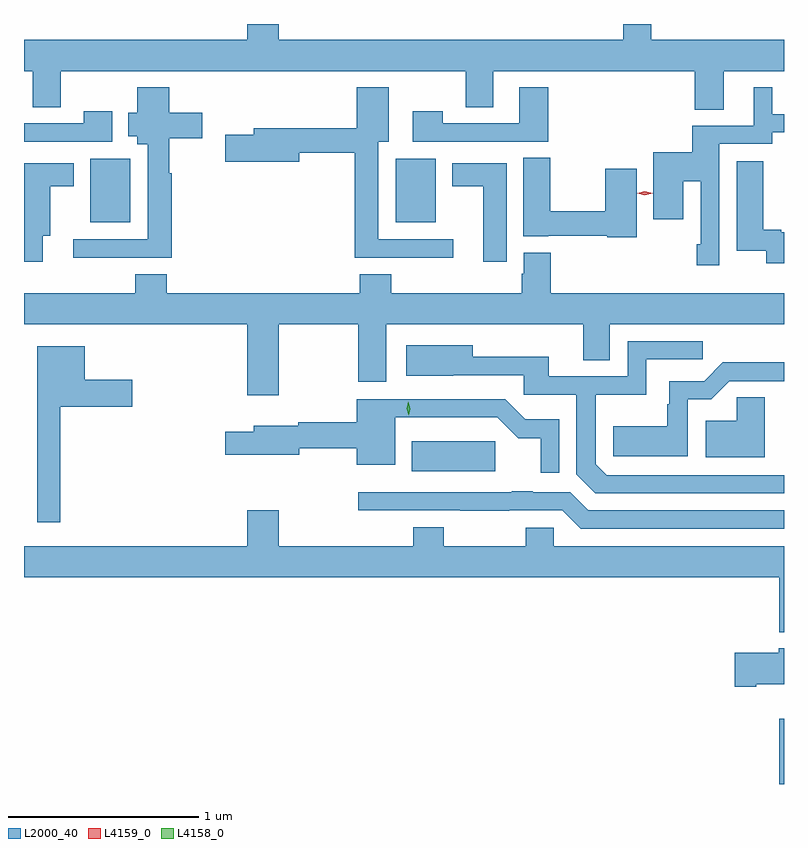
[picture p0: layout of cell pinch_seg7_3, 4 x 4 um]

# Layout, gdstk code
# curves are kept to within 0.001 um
import gdstk
lib = gdstk.Library(unit=1e-6, precision=1e-09)
def R(c, l, rs):  # rectangles x0, y0, x1, y1
    for r in rs: c.add(gdstk.rectangle(r[:2], r[2:], *l))
def P(c, l, *ps):  # polygons
    for p in ps: c.add(gdstk.Polygon(p, *l))
L2000_40 = (2000, 40)
L4158_0 = (4158, 0)
L4159_0 = (4159, 0)

pinch_seg7_3 = lib.new_cell('pinch_seg7_3')
R(pinch_seg7_3, L2000_40, [(1042.93,1050.144,1042.956,1050.487), (1040.996,1051.79,1041.436,1051.948), (1039.304,1053.101,1039.516,1053.436), (1040.912,1053.101,1041.124,1053.436)])
P(pinch_seg7_3, L2000_40, [(1042.639,1053.896),(1042.956,1053.896),(1042.956,1054.06),(1042.257,1054.06),(1042.257,1054.144),(1042.109,1054.144),(1042.109,1054.06),(1040.296,1054.06),(1040.296,1054.144),(1040.132,1054.144),(1040.132,1054.06),(1038.956,1054.06),(1038.956,1053.896),(1039.001,1053.896),(1039.001,1053.706),(1039.149,1053.706),(1039.149,1053.896),(1041.28,1053.896),(1041.28,1053.706),(1041.427,1053.706),(1041.427,1053.896),(1042.487,1053.896),(1042.487,1053.694),(1042.639,1053.694)],
  [(1041.214,1053.012),(1040.821,1053.012),(1040.821,1053.524),(1040.875,1053.524),(1040.875,1053.811),(1040.708,1053.811),(1040.708,1053.595),(1040.165,1053.595),(1040.165,1053.561),(1040.016,1053.561),(1040.016,1053.419),(1040.404,1053.419),(1040.404,1053.466),(1040.696,1053.466),(1040.696,1052.915),(1041.214,1052.915)],
  [(1042.614,1053.513),(1042.893,1053.513),(1042.893,1053.573),(1042.956,1053.573),(1042.956,1053.669),(1042.894,1053.669),(1042.894,1053.811),(1042.796,1053.811),(1042.796,1053.609),(1042.472,1053.609),(1042.472,1053.469),(1042.268,1053.469),(1042.268,1053.117),(1042.426,1053.117),(1042.426,1053.317),(1042.518,1053.317),(1042.518,1052.986),(1042.498,1052.986),(1042.498,1052.874),(1042.614,1052.874)],
  [(1039.733,1053.358),(1039.72,1053.358),(1039.72,1053.542),(1039.894,1053.542),(1039.894,1053.676),(1039.72,1053.676),(1039.72,1053.811),(1039.553,1053.811),(1039.553,1053.676),(1039.505,1053.676),(1039.505,1053.554),(1039.553,1053.554),(1039.553,1053.512),(1039.607,1053.512),(1039.607,1053.012),(1039.215,1053.012),(1039.215,1052.915),(1039.733,1052.915)],
  [(1041.716,1053.811),(1041.563,1053.811),(1041.563,1053.621),(1041.159,1053.621),(1041.159,1053.685),(1041.003,1053.685),(1041.003,1053.525),(1041.716,1053.525)],
  [(1039.42,1053.685),(1039.27,1053.685),(1039.27,1053.621),(1038.956,1053.621),(1038.956,1053.525),(1039.42,1053.525)],
  [(1042.18,1053.382),(1042.015,1053.382),(1042.015,1053.158),(1041.726,1053.158),(1041.726,1053.44),(1041.584,1053.44),(1041.584,1053.026),(1041.714,1053.026),(1041.714,1053.03),(1042.026,1053.03),(1042.026,1053.022),(1042.18,1053.022)],
  [(1042.956,1053.048),(1042.942,1053.048),(1042.942,1053.061),(1042.846,1053.061),(1042.846,1053.421),(1042.706,1053.421),(1042.706,1052.95),(1042.862,1052.95),(1042.862,1052.885),(1042.956,1052.885)],
  [(1041.496,1053.412),(1041.209,1053.412),(1041.209,1053.29),(1041.374,1053.29),(1041.374,1052.892),(1041.496,1052.892)],
  [(1039.054,1053.029),(1039.093,1053.029),(1039.093,1053.29),(1039.219,1053.29),(1039.219,1053.412),(1038.956,1053.412),(1038.956,1052.892),(1039.054,1052.892)],
  [(1040.296,1052.564),(1040.716,1052.564),(1040.716,1052.262),(1040.863,1052.262),(1040.863,1052.564),(1041.899,1052.564),(1041.899,1052.374),(1042.039,1052.374),(1042.039,1052.564),(1042.956,1052.564),(1042.956,1052.728),(1041.728,1052.728),(1041.728,1052.941),(1041.587,1052.941),(1041.587,1052.829),(1041.575,1052.829),(1041.575,1052.728),(1040.888,1052.728),(1040.888,1052.827),(1040.723,1052.827),(1040.723,1052.728),(1039.706,1052.728),(1039.706,1052.827),(1039.541,1052.827),(1039.541,1052.728),(1038.956,1052.728),(1038.956,1052.564),(1040.132,1052.564),(1040.132,1052.19),(1040.296,1052.19)],
  [(1042.956,1051.77),(1042.023,1051.77),(1041.966,1051.827),(1041.966,1052.192),(1042.23,1052.192),(1042.23,1052.38),(1042.528,1052.38),(1042.528,1052.475),(1042.134,1052.475),(1042.134,1052.289),(1041.718,1052.289),(1041.718,1052.392),(1041.319,1052.392),(1041.319,1052.452),(1040.967,1052.452),(1040.967,1052.294),(1041.585,1052.295),(1041.585,1052.193),(1041.863,1052.193),(1041.863,1051.774),(1041.963,1051.674),(1042.956,1051.674)],
  [(1039.147,1052.129),(1039.525,1052.129),(1039.525,1052.271),(1039.276,1052.271),(1039.276,1052.449),(1039.025,1052.449),(1039.025,1051.521),(1039.147,1051.521)],
  [(1042.449,1052.169),(1042.572,1052.169),(1042.668,1052.265),(1042.956,1052.265),(1042.956,1052.363),(1042.634,1052.363),(1042.536,1052.265),(1042.353,1052.265),(1042.353,1052.142),(1042.341,1052.142),(1042.341,1052.026),(1042.056,1052.026),(1042.056,1051.868),(1042.449,1051.868)],
  [(1042.855,1052.179),(1042.708,1052.179),(1042.708,1052.056),(1042.544,1052.056),(1042.544,1051.865),(1042.855,1051.865)],
  [(1041.774,1052.064),(1041.594,1052.064),(1041.489,1052.169),(1040.708,1052.169),(1040.708,1052.048),(1040.4,1052.048),(1040.4,1052.029),(1040.165,1052.029),(1040.165,1051.999),(1040.016,1051.999),(1040.016,1051.877),(1040.404,1051.877),(1040.404,1051.912),(1040.708,1051.912),(1040.708,1051.823),(1040.911,1051.823),(1040.911,1052.073),(1041.447,1052.073),(1041.557,1051.963),(1041.676,1051.963),(1041.676,1051.782),(1041.774,1051.782)],
  [(1042.956,1051.584),(1041.927,1051.584),(1041.831,1051.68),(1041.634,1051.68),(1041.634,1051.685),(1041.523,1051.685),(1041.523,1051.68),(1040.715,1051.68),(1040.715,1051.584),(1041.789,1051.584),(1041.885,1051.488),(1042.956,1051.488)],
  [(1042.956,1051.396),(1041.744,1051.396),(1041.744,1051.494),(1041.598,1051.494),(1041.598,1051.396),(1041.165,1051.396),(1041.165,1051.495),(1041.005,1051.495),(1041.005,1051.396),(1040.296,1051.396),(1040.296,1051.585),(1040.132,1051.585),(1040.132,1051.396),(1038.956,1051.396),(1038.956,1051.232),(1042.93,1051.232),(1042.93,1050.944),(1042.956,1050.944)],
  [(1042.81,1050.668),(1042.956,1050.668),(1042.956,1050.859),(1042.928,1050.859),(1042.928,1050.834),(1042.698,1050.834),(1042.698,1050.656),(1042.81,1050.656)])
P(pinch_seg7_3, L4158_0, [(1040.982,1052.084),(1040.982,1052.084),(1040.97,1052.12),(1040.978,1052.156),(1040.979,1052.156),(1040.979,1052.156),(1040.99,1052.12),(1040.982,1052.084)])
P(pinch_seg7_3, L4159_0, [(1042.224,1053.243),(1042.184,1053.253),(1042.184,1053.253),(1042.184,1053.253),(1042.224,1053.263),(1042.265,1053.253),(1042.265,1053.253),(1042.265,1053.253)])

lib.write_gds('pinch_seg7_3.gds')
